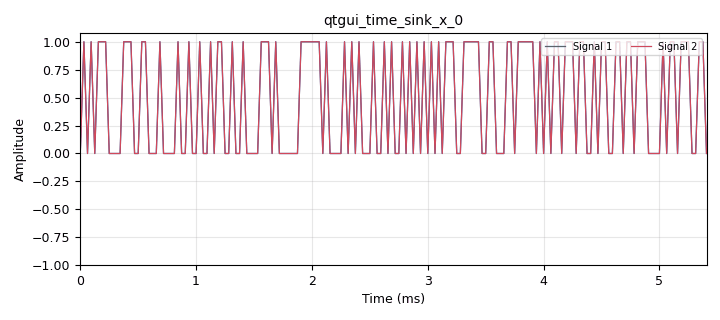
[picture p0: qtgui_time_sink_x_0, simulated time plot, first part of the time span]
options:
  parameters:
    generate_options: qt_gui
    id: packing_bits
    output_language: python
    title: packing_bits
  states: {}

blocks:
- name: samp_rate
  id: variable
  parameters:
    value: '32000'
  states: {}
- name: analog_random_source_x_0
  id: analog_random_source_x
  parameters:
    comment: |-
      The unpack K perfectly reverses 
      the pack K operation, which can
      be verified by looking at the 
      overlapping signals in the time sink.
    max: '2'
    min: '0'
    num_samps: '1000'
    repeat: 'True'
    type: byte
  states: {}
- name: blocks_char_to_float_0
  id: blocks_char_to_float
  parameters:
    scale: '1'
  states: {}
- name: blocks_char_to_float_0_0
  id: blocks_char_to_float
  parameters:
    scale: '1'
  states: {}
- name: blocks_pack_k_bits_bb_0
  id: blocks_pack_k_bits_bb
  parameters:
    k: '4'
  states: {}
- name: blocks_throttle2_0
  id: blocks_throttle2
  parameters:
    samples_per_second: samp_rate
    type: byte
  states: {}
- name: blocks_unpack_k_bits_bb_0
  id: blocks_unpack_k_bits_bb
  parameters:
    k: '4'
  states: {}
- name: qtgui_time_sink_x_0
  id: qtgui_time_sink_x
  parameters:
    nconnections: '2'
    size: '1024'
    srate: samp_rate
    type: float
  states: {}

connections:
- [analog_random_source_x_0, '0', blocks_char_to_float_0_0, '0']
- [analog_random_source_x_0, '0', blocks_throttle2_0, '0']
- [blocks_char_to_float_0, '0', qtgui_time_sink_x_0, '0']
- [blocks_char_to_float_0_0, '0', qtgui_time_sink_x_0, '1']
- [blocks_pack_k_bits_bb_0, '0', blocks_unpack_k_bits_bb_0, '0']
- [blocks_throttle2_0, '0', blocks_pack_k_bits_bb_0, '0']
- [blocks_unpack_k_bits_bb_0, '0', blocks_char_to_float_0, '0']

metadata:
  file_format: 1
  grc_version: 3.10.6.0
